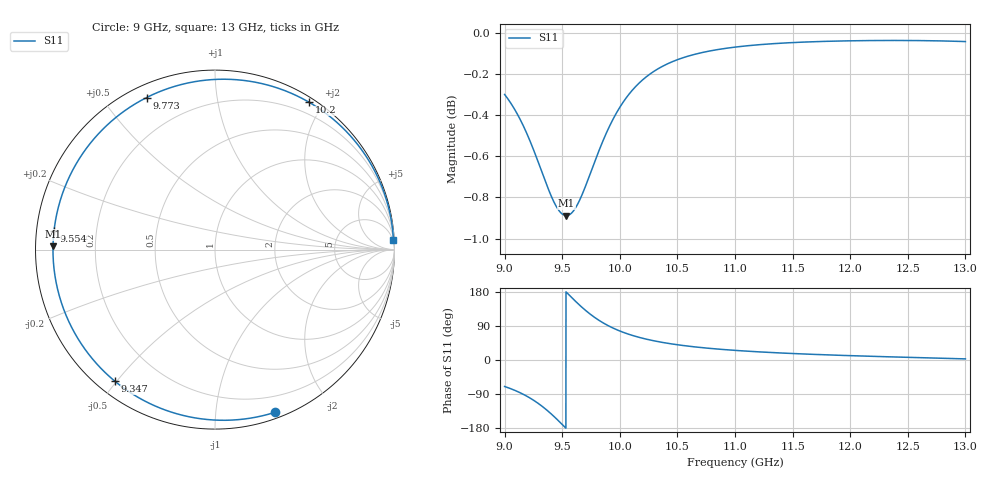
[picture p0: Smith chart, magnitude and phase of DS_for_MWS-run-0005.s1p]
! TOUCHSTONE file generated by CST DESIGN STUDIO
! Date and time: Tue Feb  4 18:46:41 2025
! Project name: C:\Work\MatlabApps\UnitCellOptimizationMatlab\CST\unitcell.cst
! Tree item: Tasks\Sweep1\SPara1\S-Parameters
! Header version: 2024
! Port assignment regex: !\s*Touchstone port\s*([0-9]+)\s*=\s*(CST MWS port|CST DES external port|CST DES block port)\s*(.+)\s* \(\"(.*)\"\)(\s*mode\s*([0-9]+))?.*
! Touchstone port assignment:
! Touchstone port 1 = CST DES external port 1 ("")
# GHz S MA R 50
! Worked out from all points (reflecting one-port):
!   4001 points, 9 GHz to 13 GHz, reference 50 ohm
!   lowest |S11| = -0.9 dB at 9.536 GHz (marker M1), VSWR 19.57, Z = 2.56 + j0.48 ohm
!   phase of S11 starts at -70 deg and turns -287 deg over the sweep
!   S11 on the Smith chart (normalised r, x): 9 GHz: 0.05, -1.43; 9.347 GHz: 0.05, -0.49; 9.554 GHz: 0.05, +0.06; 9.773 GHz: 0.05, +0.65; 10.2 GHz: 0.06, +1.82; 13 GHz: 4, +39
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9  0.9661 -69.9
9.097  0.957 -81.2
9.204  0.9437 -97.4
9.279  0.9323 -111.8
9.347  0.9213 -127.3
9.389  0.9149 -138.1
9.432  0.9092 -150.0
9.5  0.9036 -170.1
9.536  0.9028 178.9
9.554  0.903 173.4
9.608  0.906 157.1
9.669  0.913 139.8
9.72  0.9205 126.6
9.773  0.929 114.2
9.821  0.9365 104.3
9.873  0.9441 94.9
9.936  0.9522 85.0
10  0.9592 76.5
10.093  0.9673 66.4
10.196  0.9739 57.5
10.335  0.9802 48.3
10.5  0.9851 40.2
10.721  0.9891 32.4
11  0.9921 25.4
11.5  0.9946 17.1
12  0.9956 11.5
12.5  0.9957 7.0
13  0.9951 2.9
